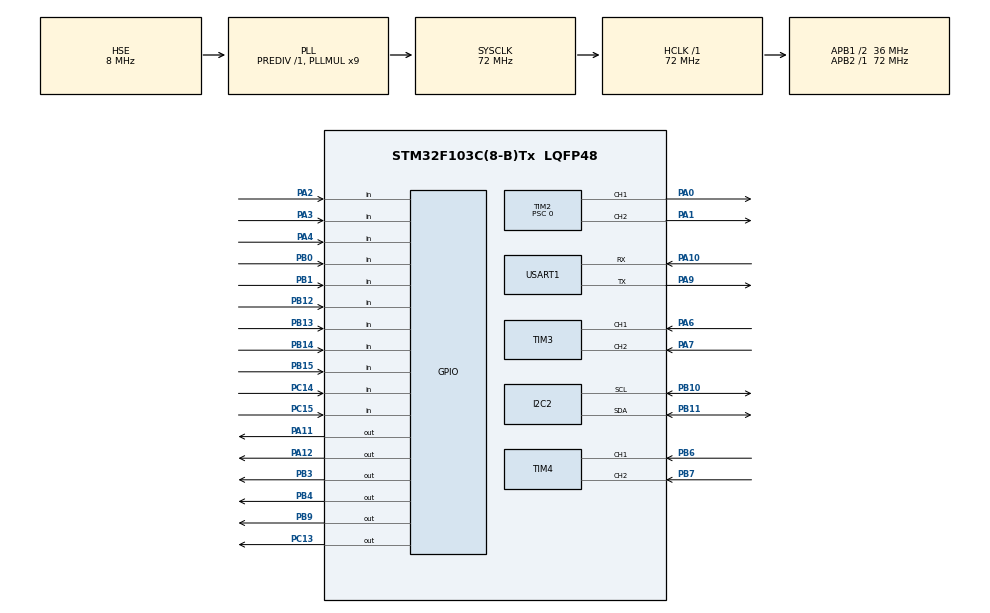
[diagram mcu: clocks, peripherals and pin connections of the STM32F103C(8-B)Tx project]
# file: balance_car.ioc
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FREERTOS.INCLUDE_vTaskDelayUntil=1
FREERTOS.Mutexes01=Encoder_Mutex,Dynamic,NULL,Available
FREERTOS.Tasks01=DebugTask,0,128,StartDebug,Default,NULL,Dynamic,NULL,NULL;MotorCtrlTask,0,128,StartMotorCtrl,Default,NULL,Dynamic,NULL,NULL;RPMGetTask,0,128,StartRPMGet,Default,NULL,Dynamic,NULL,NULL;Task_Status,0,128,Start_Task_Handle,Default,NULL,Dynamic,NULL,NULL
Mcu.Family=STM32F1
Mcu.Name=STM32F103C(8-B)Tx
Mcu.Package=LQFP48
NVIC.PriorityGroup=NVIC_PRIORITYGROUP_4
NVIC.TIM1_UP_IRQn=true\:15\:0\:false\:false\:true\:false\:false\:true\:true
NVIC.TimeBase=TIM1_UP_IRQn
NVIC.TimeBaseIP=TIM1
NVIC.USART1_IRQn=true\:5\:0\:false\:false\:true\:true\:true\:true\:true
PA0-WKUP.Signal=S_TIM2_CH1_ETR
PA1.Signal=S_TIM2_CH2
PA10.Mode=Asynchronous
PA10.Signal=USART1_RX
PA11.GPIO_Speed=GPIO_SPEED_FREQ_MEDIUM
PA11.PinState=GPIO_PIN_SET
PA11.Signal=GPIO_Output
PA12.GPIO_Speed=GPIO_SPEED_FREQ_MEDIUM
PA12.Signal=GPIO_Output
PA13.Mode=Serial_Wire
PA13.Signal=SYS_JTMS-SWDIO
PA14.Mode=Serial_Wire
PA14.Signal=SYS_JTCK-SWCLK
PA2.GPIO_PuPd=GPIO_PULLDOWN
PA2.Signal=GPIO_Input
PA3.GPIO_PuPd=GPIO_PULLDOWN
PA3.Signal=GPIO_Input
PA4.GPIO_PuPd=GPIO_PULLDOWN
PA4.Signal=GPIO_Input
PA6.Signal=S_TIM3_CH1
PA7.Signal=S_TIM3_CH2
PA9.Mode=Asynchronous
PA9.Signal=USART1_TX
PB0.Signal=GPIO_Input
PB1.Signal=GPIO_Input
PB10.Mode=I2C
PB10.Signal=I2C2_SCL
PB11.Mode=I2C
PB11.Signal=I2C2_SDA
PB12.Signal=GPIO_Input
PB13.Signal=GPIO_Input
PB14.Signal=GPIO_Input
PB15.Signal=GPIO_Input
PB3.GPIO_Speed=GPIO_SPEED_FREQ_MEDIUM
PB3.PinState=GPIO_PIN_SET
PB3.Signal=GPIO_Output
PB4.GPIO_Speed=GPIO_SPEED_FREQ_MEDIUM
PB4.Signal=GPIO_Output
PB6.Signal=S_TIM4_CH1
PB7.Signal=S_TIM4_CH2
PB9.GPIO_PuPd=GPIO_PULLUP
PB9.PinState=GPIO_PIN_SET
PB9.Signal=GPIO_Output
PC13-TAMPER-RTC.GPIO_PuPd=GPIO_PULLUP
PC13-TAMPER-RTC.PinState=GPIO_PIN_SET
PC13-TAMPER-RTC.Signal=GPIO_Output
PC14-OSC32_IN.GPIO_PuPd=GPIO_PULLUP
PC14-OSC32_IN.Signal=GPIO_Input
PC15-OSC32_OUT.GPIO_PuPd=GPIO_PULLUP
PC15-OSC32_OUT.Signal=GPIO_Input
PD0-OSC_IN.Mode=HSE-External-Oscillator
PD0-OSC_IN.Signal=RCC_OSC_IN
PD1-OSC_OUT.Mode=HSE-External-Oscillator
PD1-OSC_OUT.Signal=RCC_OSC_OUT
ProjectManager.HeapSize=0x200
ProjectManager.StackSize=0x400
ProjectManager.TargetToolchain=MDK-ARM V5.32
RCC.AHBFreq_Value=72000000
RCC.APB1CLKDivider=RCC_HCLK_DIV2
RCC.APB1Freq_Value=36000000
RCC.APB1TimFreq_Value=72000000
RCC.APB2Freq_Value=72000000
RCC.APB2TimFreq_Value=72000000
RCC.HCLKFreq_Value=72000000
RCC.PLLMUL=RCC_PLL_MUL9
RCC.PLLSourceVirtual=RCC_PLLSOURCE_HSE
RCC.SYSCLKFreq_VALUE=72000000
RCC.SYSCLKSource=RCC_SYSCLKSOURCE_PLLCLK
RCC.USBFreq_Value=72000000
SH.S_TIM2_CH1_ETR.0=TIM2_CH1,PWM Generation1 CH1
SH.S_TIM2_CH2.0=TIM2_CH2,PWM Generation2 CH2
SH.S_TIM3_CH1.0=TIM3_CH1,Encoder_Interface
SH.S_TIM3_CH2.0=TIM3_CH2,Encoder_Interface
SH.S_TIM4_CH1.0=TIM4_CH1,Encoder_Interface
SH.S_TIM4_CH2.0=TIM4_CH2,Encoder_Interface
TIM2.Channel-PWM\ Generation1\ CH1=TIM_CHANNEL_1
TIM2.Channel-PWM\ Generation2\ CH2=TIM_CHANNEL_2
TIM2.Period=9999
TIM2.Prescaler=0
TIM2.Pulse-PWM\ Generation1\ CH1=0
TIM2.Pulse-PWM\ Generation2\ CH2=0
TIM2.TIM_MasterSlaveMode=TIM_MASTERSLAVEMODE_DISABLE
TIM3.EncoderMode=TIM_ENCODERMODE_TI12
TIM3.IC1Filter=0
TIM3.IC2Filter=0
TIM4.EncoderMode=TIM_ENCODERMODE_TI12
TIM4.IC1Filter=0
TIM4.IC2Filter=0
USART1.VirtualMode=VM_ASYNC
VP_FREERTOS_VS_CMSIS_V1.Mode=CMSIS_V1
VP_SYS_VS_tim1.Mode=TIM1
VP_TIM2_VS_ClockSourceINT.Mode=Internal
board=custom

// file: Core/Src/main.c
/* USER CODE BEGIN Header */
/**
  ******************************************************************************
  * @file           : main.c
  * @brief          : Main program body
  ******************************************************************************
  * @attention
  *
  * Copyright (c) 2025 STMicroelectronics.
  * All rights reserved.
  *
  * This software is licensed under terms that can be found in the LICENSE file
  * in the root directory of this software component.
  * If no LICENSE file comes with this software, it is provided AS-IS.
  *
  ******************************************************************************
  */
/* USER CODE END Header */
#include "main.h"
#include "cmsis_os.h"
#include "i2c.h"
#include "tim.h"
#include "usart.h"
#include "gpio.h"

/* USER CODE BEGIN Includes */
#include "oled.h"
#include "mpu6050.h"
/* USER CODE END Includes */

void SystemClock_Config(void);
void MX_FREERTOS_Init(void);

int main(void)
{

  /* MCU Configuration--------------------------------------------------------*/

  /* Reset of all peripherals, Initializes the Flash interface and the Systick. */
  HAL_Init();

  /* Configure the system clock */
  SystemClock_Config();

  /* Initialize all configured peripherals */
  MX_GPIO_Init();
  MX_TIM2_Init();
  MX_TIM3_Init();
  MX_TIM4_Init();
  MX_I2C2_Init();
  MX_USART1_UART_Init();
  /* USER CODE BEGIN 2 */

  OLED_Init();
  int ret = 0;
  do {
	ret = MPU6050_DMP_init();
  } while (ret);
  /* USER CODE END 2 */

  /* Call init function for freertos objects (in cmsis_os2.c) */
  MX_FREERTOS_Init();

  /* Start scheduler */
  osKernelStart();

  /* We should never get here as control is now taken by the scheduler */

  /* Infinite loop */
  while (1)
  {

  }
}

void SystemClock_Config(void)
{
  RCC_OscInitTypeDef RCC_OscInitStruct = {0};
  RCC_ClkInitTypeDef RCC_ClkInitStruct = {0};

  /** Initializes the RCC Oscillators according to the specified parameters
  * in the RCC_OscInitTypeDef structure.
  */
  RCC_OscInitStruct.OscillatorType = RCC_OSCILLATORTYPE_HSE;
  RCC_OscInitStruct.HSEState = RCC_HSE_ON;
  RCC_OscInitStruct.HSEPredivValue = RCC_HSE_PREDIV_DIV1;
  RCC_OscInitStruct.HSIState = RCC_HSI_ON;
  RCC_OscInitStruct.PLL.PLLState = RCC_PLL_ON;
  RCC_OscInitStruct.PLL.PLLSource = RCC_PLLSOURCE_HSE;
  RCC_OscInitStruct.PLL.PLLMUL = RCC_PLL_MUL9;
  if (HAL_RCC_OscConfig(&RCC_OscInitStruct) != HAL_OK)
  {
    Error_Handler();
  }

  /** Initializes the CPU, AHB and APB buses clocks
  */
  RCC_ClkInitStruct.ClockType = RCC_CLOCKTYPE_HCLK|RCC_CLOCKTYPE_SYSCLK
                              |RCC_CLOCKTYPE_PCLK1|RCC_CLOCKTYPE_PCLK2;
  RCC_ClkInitStruct.SYSCLKSource = RCC_SYSCLKSOURCE_PLLCLK;
  RCC_ClkInitStruct.AHBCLKDivider = RCC_SYSCLK_DIV1;
  RCC_ClkInitStruct.APB1CLKDivider = RCC_HCLK_DIV2;
  RCC_ClkInitStruct.APB2CLKDivider = RCC_HCLK_DIV1;

  if (HAL_RCC_ClockConfig(&RCC_ClkInitStruct, FLASH_LATENCY_2) != HAL_OK)
  {
    Error_Handler();
  }
}

void HAL_TIM_PeriodElapsedCallback(TIM_HandleTypeDef *htim)
{
  if (htim->Instance == TIM1) {
    HAL_IncTick();
  }
}

void Error_Handler(void)
{
  __disable_irq();
  while (1)
  {
  }
}

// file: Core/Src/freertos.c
/* USER CODE BEGIN Header */
/**
  ******************************************************************************
  * File Name          : freertos.c
  * Description        : Code for freertos applications
  ******************************************************************************
  * @attention
  *
  * Copyright (c) 2025 STMicroelectronics.
  * All rights reserved.
  *
  * This software is licensed under terms that can be found in the LICENSE file
  * in the root directory of this software component.
  * If no LICENSE file comes with this software, it is provided AS-IS.
  *
  ******************************************************************************
  */
/* USER CODE END Header */

#include "FreeRTOS.h"
#include "task.h"
#include "main.h"
#include "cmsis_os.h"

/* USER CODE BEGIN Includes */
#include "pid.h"
#include "vofa.h"
#include "mpu6050.h"
#include "inv_mpu.h"
#include "tim.h"
#include "oled.h"
#include "math.h"
#include "Motor.h"
#include "HC_05.h"
#include "tracking.h"
/* USER CODE END Includes */

/* USER CODE BEGIN PD */
#define aabs(x) ((x)>0?(x):-(x))
/* USER CODE END PD */

/* USER CODE BEGIN Variables */

extern Control_Model control_model;
extern Velocity_t Velocity_Data;
extern union HC_05_PID_t HC_05_PID;
extern union Vofa_Pid vofa_kp,vofa_ki,vofa_kd,vofa_Target;
int16_t TIM3_CNT,TIM4_CNT;
float L_RPS,R_RPS;
PID L_pid_Speed,R_pid_Speed,Angle_pid,Pitch_pid,Turn_pid;
float R_Target_RPS,L_Target_RPS,Target_RPS,Target_Speed,Turn_Out,Target_Yaw;
float Roll,Pitch,Yaw;
short Gyro[3];
short Gyro_y,Gyro_x,Gyro_z;
/* USER CODE END Variables */
osThreadId DebugTaskHandle;
osThreadId MotorCtrlTaskHandle;
osThreadId RPMGetTaskHandle;
osThreadId Task_StatusHandle;
osMutexId Encoder_MutexHandle;

void StartDebug(void const * argument);
void StartMotorCtrl(void const * argument);
void StartRPMGet(void const * argument);
void Start_Task_Handle(void const * argument);

void MX_FREERTOS_Init(void); /* (MISRA C 2004 rule 8.1) */

/* GetIdleTaskMemory prototype (linked to static allocation support) */
void vApplicationGetIdleTaskMemory( StaticTask_t **ppxIdleTaskTCBBuffer, StackType_t **ppxIdleTaskStackBuffer, uint32_t *pulIdleTaskStackSize );

/* USER CODE BEGIN GET_IDLE_TASK_MEMORY */
static StaticTask_t xIdleTaskTCBBuffer;
static StackType_t xIdleStack[configMINIMAL_STACK_SIZE];

void vApplicationGetIdleTaskMemory( StaticTask_t **ppxIdleTaskTCBBuffer, StackType_t **ppxIdleTaskStackBuffer, uint32_t *pulIdleTaskStackSize )
{
  *ppxIdleTaskTCBBuffer = &xIdleTaskTCBBuffer;
  *ppxIdleTaskStackBuffer = &xIdleStack[0];
  *pulIdleTaskStackSize = configMINIMAL_STACK_SIZE;
  /* place for user code */
}
/* USER CODE END GET_IDLE_TASK_MEMORY */

void MX_FREERTOS_Init(void) {
  /* Create the mutex(es) */
  /* definition and creation of Encoder_Mutex */
  osMutexDef(Encoder_Mutex);
  Encoder_MutexHandle = osMutexCreate(osMutex(Encoder_Mutex));

  /* Create the thread(s) */
  /* definition and creation of DebugTask */
  osThreadDef(DebugTask, StartDebug, osPriorityNormal, 0, 128);
  DebugTaskHandle = osThreadCreate(osThread(DebugTask), NULL);

  /* definition and creation of MotorCtrlTask */
  osThreadDef(MotorCtrlTask, StartMotorCtrl, osPriorityNormal, 0, 128);
  MotorCtrlTaskHandle = osThreadCreate(osThread(MotorCtrlTask), NULL);

  /* definition and creation of RPMGetTask */
  osThreadDef(RPMGetTask, StartRPMGet, osPriorityNormal, 0, 128);
  RPMGetTaskHandle = osThreadCreate(osThread(RPMGetTask), NULL);

  /* definition and creation of Task_Status */
  osThreadDef(Task_Status, Start_Task_Handle, osPriorityNormal, 0, 128);
  Task_StatusHandle = osThreadCreate(osThread(Task_Status), NULL);

}

/* USER CODE BEGIN Header_StartDebug */
/**
  * @brief  Function implementing the DebugTask thread.
  * @param  argument: Not used
  * @retval None
  */
TickType_t time1,time2;
/* USER CODE END Header_StartDebug */
void StartDebug(void const * argument)
{
  /* USER CODE BEGIN StartDebug */
  float pitch, roll, yaw;
  /* Infinite loop */
  for(;;)
  {

    //xSemaphoreTake(Ora_MutexHandle,portMAX_DELAY);
    if(MPU6050_DMP_Get_Date(&Pitch, &Roll, &Yaw)==0){
		pitch = -Pitch;
		roll = Roll;
		yaw = Yaw;
    }

    osDelay(1);
  }
  /* USER CODE END StartDebug */
}

void StartMotorCtrl(void const * argument)
{
  /* USER CODE BEGIN StartMotorCtrl */
#ifdef VOFA_DEBUG
    StartUart2ReceiveIT();
#endif

    StartUart1ReceiveIT();
    float r_rps,l_rps,r_output,l_output,angle_error,target_speed,Target_angle;
    float pitch,roll,yaw;

    PID_parameter_init(&Pitch_pid,1,0.007,200,20,10,0);
    PID_parameter_init(&L_pid_Speed,1420,100,0,10000,5000,0);
    PID_parameter_init(&R_pid_Speed,1420,100,0,10000,5000,0);
    PID_parameter_init(&Angle_pid,0.25,0.003,1,15,15,0);
    PID_parameter_init(&Turn_pid,0.1,0,0,1,0.5,0);
    Target_RPS = 0;
    TickType_t preTime = xTaskGetTickCount();
    uint32_t sum_temp =0;
    uint8_t sum=0;
	  float turn_out1=0,turn_out2=0,target_yaw=0;
    sensor_status status;
	float a = 0;
  /* Infinite loop */
  for(;;)
  {
    //time1 = xTaskGetTickCount();
    //xSemaphoreTake(Encoder_MutexHandle,portMAX_DELAY);
    r_rps = R_RPS;
    l_rps = L_RPS;
    //xSemaphoreGive(Encoder_MutexHandle);

    //xSemaphoreTake(Ora_MutexHandle,portMAX_DELAY);
    pitch = -Pitch;
	  roll = Roll;
    yaw = Yaw;
    //xSemaphoreGive(Ora_MutexHandle);
	if(control_model == AUTO){
		target_speed = Target_Speed;
		target_yaw = Target_Yaw;
		turn_out2 = Turn_Out;
		if(target_speed==0){
			 PID_reset_PID(&Pitch_pid,1.2,0.001,200);
		}else{
			PID_reset_PID(&Pitch_pid,0.9,0.002,400);
		}
	}else{
		target_yaw =-1;
		target_speed = Velocity_Data.Velocity_y/128*3.5;
		if(target_speed==0){
			 PID_reset_PID(&Pitch_pid,1.2,0.001,200);
		}else{
			PID_reset_PID(&Pitch_pid,0.9,0.002,400);
		}
		turn_out2 = -Velocity_Data.Omega/128*1;
	}

//	  if(HC_05_PID.Data[0]!=0||HC_05_PID.Data[1]!=0||HC_05_PID.Data[2]!=0){
//		  PID_reset_PID(&Pitch_pid,HC_05_PID.Data[0],HC_05_PID.Data[1],HC_05_PID.Data[2]);
//	  }
    if(target_yaw != -1){
		Turn_pid_calculation(&Turn_pid,target_yaw,yaw);
	    turn_out1 = Turn_pid.output;
    }else{
		turn_out1 = 0;
    }

    Pitch_pid_calculation(&Pitch_pid,target_speed,r_rps);
    Target_angle = Pitch_pid.output;
    angle_error = pitch-Target_angle;
    if(fabsf(pitch)>55){
	    Angle_pid.output = 0;
    }else{
      PID_position_PID_calculation_by_error(&Angle_pid,angle_error);
    }
    Target_RPS = vofa_Target.Pid_Data;
    PID_incremental_PID_calculation(&R_pid_Speed,r_rps,Angle_pid.output+turn_out1+turn_out2);
    PID_incremental_PID_calculation(&L_pid_Speed,l_rps,Angle_pid.output-turn_out1-turn_out2);

     Motor_Ctrol(R_pid_Speed.output,L_pid_Speed.output);

//    HC_05_Send_Header();
//    sum_temp+= HC_05_Send_Float(Target_Speed);
//    sum_temp+= HC_05_Send_Float(0);
//    sum = (uint8_t)sum_temp;
//    HC_05_Send_Checksum(sum);
//    HC_05_Send_Tail();

//   Vofa_SendFloat(Velocity_Data.Velocity_y);
//   Vofa_SendFloat(Velocity_Data.Omega);
//   Vofa_SendFloat(a);
//   Vofa_Tail_Send();

	//time2 = xTaskGetTickCount()-time1;

	osDelayUntil(&preTime,pdMS_TO_TICKS(3));

  }

  /* USER CODE END StartMotorCtrl */
}

void StartRPMGet(void const * argument)
{
  /* USER CODE BEGIN StartRPMGet */
	float r_rps,l_rps,a=0.7;
	TickType_t preTime=xTaskGetTickCount();
	int Tim3_cnt_last,Tim4_cnt_last;
  /* Infinite loop */
  for(;;)
  {

	  TIM3_CNT = __HAL_TIM_GetCounter(&htim3);
	  TIM4_CNT = __HAL_TIM_GetCounter(&htim4);
	  __HAL_TIM_SetCounter(&htim3,0);
	  __HAL_TIM_SetCounter(&htim4,0);
	  //xSemaphoreTake(Encoder_MutexHandle,portMAX_DELAY);
	  L_RPS = -(float)TIM3_CNT/52/20*1000/3;
    R_RPS = (float)TIM4_CNT/52/20*1000/3;
	  l_rps = L_RPS;
	  r_rps = R_RPS;
	  //xSemaphoreGive(Encoder_MutexHandle);

//	   Vofa_SendFloat(Target.Pid_Data);
//	   Vofa_SendFloat(r_rps);
//	  Vofa_SendFloat(l_rps);
//	   Vofa_Tail_Send();

	  osDelayUntil(&preTime,pdMS_TO_TICKS(3));

  }

  /* USER CODE END StartRPMGet */
}

void Start_Task_Handle(void const * argument)
{
  /* USER CODE BEGIN Start_Task_Handle */
  /* Infinite loop */
  sensor_status status = TWO_WHITE;
  sensor_status last_status;
  TASK task;
  uint8_t flag1 = 0,flag2 = 0;
	uint8_t finish_flag=0;
  for(;;)
  {
	if(control_model == AUTO){
		if(finish_flag == 0){
			task = get_task();
			last_status = status;
			status = get_sensor_status();
			switch(task){
			  case task1:
				switch (status)
				{
				case TWO_WHITE:
				  Target_Speed = 1.2;
				  Target_Yaw = 0;
				  Turn_Out = 0;
				  break;
				default:
				  Target_Speed = 0;
				  finish_flag = 1;
				  break;
				}
				break;
			  case task2:
				switch (status)
				{
				case TWO_WHITE:
				  Target_Speed = 0.6;
					if(Yaw<-178&&Yaw<178){
						Target_Speed = 0;
						finish_flag = 1;
					}

				  break;
				case TWO_BLACK:
				  Target_Speed = 0.8;
				  Target_Yaw = -1;
				  Turn_Out = 0;
				  break;
				case L_BLACK_R_WHITE:
				  Target_Speed = 0.5;
				  Target_Yaw = -1;
				  Turn_Out = 0.6;
				  break;
				case L_WHITE_R_BLACK:
				  Target_Speed = 0.5;
				  Target_Yaw = -1;
				  Turn_Out = -0.6;
				  break;
				default:
				  break;
				}
				break;
			  case task3:
				switch (status)
				{
				  case TWO_WHITE:
					if(last_status != TWO_WHITE){
						Turn_Out = 0;

						flag1++;

					HAL_GPIO_WritePin(GPIOB,GPIO_PIN_9,GPIO_PIN_RESET);
					  HAL_GPIO_WritePin(GPIOC,GPIO_PIN_13,GPIO_PIN_RESET);
					  osDelay(100);
					  HAL_GPIO_WritePin(GPIOB,GPIO_PIN_9,GPIO_PIN_SET);
					  HAL_GPIO_WritePin(GPIOC,GPIO_PIN_13,GPIO_PIN_SET);

					}

					if(flag1 == 0){
					  Turn_Out = 0;
					  Target_Speed = 0.9;
					  Target_Yaw = 0;
					}else if(flag1 == 1){
					  Turn_Out = 0;
					  Target_Speed = 1;
					  Target_Yaw = 178;
					}else{
					  Turn_Out = 0;
					  flag1 = 0;
					  Target_Speed = 0;

						finish_flag = 1;

					}

					break;
				  case TWO_BLACK:
					if(last_status == TWO_WHITE){
					  HAL_GPIO_WritePin(GPIOB,GPIO_PIN_9,GPIO_PIN_RESET);
					  HAL_GPIO_WritePin(GPIOC,GPIO_PIN_13,GPIO_PIN_RESET);
					  osDelay(100);
					  HAL_GPIO_WritePin(GPIOB,GPIO_PIN_9,GPIO_PIN_SET);
					  HAL_GPIO_WritePin(GPIOC,GPIO_PIN_13,GPIO_PIN_SET);
					}
					Target_Speed = 0.8;
					Target_Yaw = -1;
					Turn_Out = -0.1;
					break;
				  case L_BLACK_R_WHITE:
					if(last_status == TWO_WHITE){
					  HAL_GPIO_WritePin(GPIOB,GPIO_PIN_9,GPIO_PIN_RESET);
					  HAL_GPIO_WritePin(GPIOC,GPIO_PIN_13,GPIO_PIN_RESET);
					  osDelay(100);
					  HAL_GPIO_WritePin(GPIOB,GPIO_PIN_9,GPIO_PIN_SET);
					  HAL_GPIO_WritePin(GPIOC,GPIO_PIN_13,GPIO_PIN_SET);
					}
					Target_Speed = 0.6;
					Target_Yaw = -1;
					Turn_Out = 0.6;
					break;
				  case L_WHITE_R_BLACK:
					if(last_status == TWO_WHITE){
					  HAL_GPIO_WritePin(GPIOB,GPIO_PIN_9,GPIO_PIN_RESET);
					  HAL_GPIO_WritePin(GPIOC,GPIO_PIN_13,GPIO_PIN_RESET);
					  osDelay(100);
					  HAL_GPIO_WritePin(GPIOB,GPIO_PIN_9,GPIO_PIN_SET);
					  HAL_GPIO_WritePin(GPIOC,GPIO_PIN_13,GPIO_PIN_SET);
					}
					Target_Speed = 0.6;
					Target_Yaw = -1;
					Turn_Out = -0.6;

					break;
				  default:
					break;
				}
				break;
			  case task4:
				switch (status)
				{
				case TWO_WHITE:
				  if(last_status != TWO_WHITE){
					  Target_Speed = 0.6;
					  Turn_Out = 0;

						Target_Yaw=-35;

					if(Yaw>175&&Yaw<-175){
						Target_Yaw = -140;
						flag1++;
					}
					if(Yaw<5&&Yaw>-5){
						if(flag1>0){
							Target_Speed = 0;
							finish_flag =1;
						}
					}

				  }
//				  if(flag1 <2){
//					if(flag1%2 == 0){
//					  Target_Speed = 0.95;
//					  Target_Yaw = -37;
//					}else{
//					  Target_Speed = 0.95;
//					  Target_Yaw = -140;
//					}
//				  }else if (flag1 ==2)
//				  {
//					Target_Speed = 0;
//					flag1 = 0;
//					finish_flag = 1;
//				  }
				  Turn_Out = 0;
				  break;
				case TWO_BLACK:
				  if(last_status == TWO_WHITE){
					if((Yaw>-45&&Yaw<-30)&&(Yaw>170&&Yaw<-170)){
						flag2++;
					HAL_GPIO_WritePin(GPIOB,GPIO_PIN_9,GPIO_PIN_RESET);
					  HAL_GPIO_WritePin(GPIOC,GPIO_PIN_13,GPIO_PIN_RESET);
					  osDelay(100);
					  HAL_GPIO_WritePin(GPIOB,GPIO_PIN_9,GPIO_PIN_SET);
					  HAL_GPIO_WritePin(GPIOC,GPIO_PIN_13,GPIO_PIN_SET);
					}

				  }
				  if(flag2%2 == 0){
					Target_Speed = 0.6;
					Target_Yaw = -1;
					Turn_Out = -0.2;
				  }else{
					Target_Speed = 0.8;
					Target_Yaw = -1;
					Turn_Out = 0.2;
				  }
				  if(flag2 == 2){
					flag2 = 0;
				  }
				  break;
				  case L_BLACK_R_WHITE:
					if((Yaw>-45&&Yaw<-30)&&(Yaw>170&&Yaw<-170)){
						flag2++;
					HAL_GPIO_WritePin(GPIOB,GPIO_PIN_9,GPIO_PIN_RESET);
					  HAL_GPIO_WritePin(GPIOC,GPIO_PIN_13,GPIO_PIN_RESET);
					  osDelay(100);
					  HAL_GPIO_WritePin(GPIOB,GPIO_PIN_9,GPIO_PIN_SET);
					  HAL_GPIO_WritePin(GPIOC,GPIO_PIN_13,GPIO_PIN_SET);
					}
					Target_Speed = 0.5;
					Target_Yaw = -1;
					Turn_Out = 0.7;
					break;
				  case L_WHITE_R_BLACK:
					if((Yaw>-45&&Yaw<-30)&&(Yaw>175&&Yaw<-175)){
						flag2++;
					HAL_GPIO_WritePin(GPIOB,GPIO_PIN_9,GPIO_PIN_RESET);
					  HAL_GPIO_WritePin(GPIOC,GPIO_PIN_13,GPIO_PIN_RESET);
					  osDelay(100);
					  HAL_GPIO_WritePin(GPIOB,GPIO_PIN_9,GPIO_PIN_SET);
					  HAL_GPIO_WritePin(GPIOC,GPIO_PIN_13,GPIO_PIN_SET);
					}
					Target_Speed = 0.5;
					Target_Yaw = -1;
					Turn_Out = -0.7;
					break;
				  default:
					break;
				}
				break;
			  case task5:
				switch (status)
				{
				case TWO_WHITE:
				  if(last_status != TWO_WHITE){
					flag1++;
					HAL_GPIO_WritePin(GPIOB,GPIO_PIN_9,GPIO_PIN_RESET);
					  HAL_GPIO_WritePin(GPIOC,GPIO_PIN_13,GPIO_PIN_RESET);
					  osDelay(100);
					  HAL_GPIO_WritePin(GPIOB,GPIO_PIN_9,GPIO_PIN_SET);
					  HAL_GPIO_WritePin(GPIOC,GPIO_PIN_13,GPIO_PIN_SET);
				  }
				  if(flag1 <8){
					if(flag1%2 == 0){
					  Target_Speed = 1.5;
					  Target_Yaw = -38;
					}else{
					  Target_Speed = 1.5;
					  Target_Yaw = 218;
					}
				  }else if (flag1 ==8)
				  {
					Target_Speed = 0;
					flag1 = 0;
					finish_flag = 1;
				  }
				  Turn_Out = 0;
				  break;
				case TWO_BLACK:
				  if(last_status == TWO_WHITE){
					flag2++;
					HAL_GPIO_WritePin(GPIOB,GPIO_PIN_9,GPIO_PIN_RESET);
					  HAL_GPIO_WritePin(GPIOC,GPIO_PIN_13,GPIO_PIN_RESET);
					  osDelay(100);
					  HAL_GPIO_WritePin(GPIOB,GPIO_PIN_9,GPIO_PIN_SET);
					  HAL_GPIO_WritePin(GPIOC,GPIO_PIN_13,GPIO_PIN_SET);
				  }
				  if(flag2%2 == 0){
					Target_Speed = 0.8;
					Target_Yaw = -1;
					Turn_Out = -0.2;
				  }else{
					Target_Speed = 0.8;
					Target_Yaw = -1;
					Turn_Out = 0.2;
				  }
				  break;
				  case L_BLACK_R_WHITE:
					if(last_status == TWO_WHITE){
					  flag2++;
					  HAL_GPIO_WritePin(GPIOB,GPIO_PIN_9,GPIO_PIN_RESET);
					  HAL_GPIO_WritePin(GPIOC,GPIO_PIN_13,GPIO_PIN_RESET);
					  osDelay(100);
					  HAL_GPIO_WritePin(GPIOB,GPIO_PIN_9,GPIO_PIN_SET);
					  HAL_GPIO_WritePin(GPIOC,GPIO_PIN_13,GPIO_PIN_SET);
					}
					Target_Speed = 0.6;
					Target_Yaw = -1;
					Turn_Out = 0.6;
					break;
				  case L_WHITE_R_BLACK:
					if(last_status == TWO_WHITE){
					  flag2++;
					  HAL_GPIO_WritePin(GPIOB,GPIO_PIN_9,GPIO_PIN_RESET);
					  HAL_GPIO_WritePin(GPIOC,GPIO_PIN_13,GPIO_PIN_RESET);
					  osDelay(100);
					  HAL_GPIO_WritePin(GPIOB,GPIO_PIN_9,GPIO_PIN_SET);
					  HAL_GPIO_WritePin(GPIOC,GPIO_PIN_13,GPIO_PIN_SET);
					}
					Target_Speed = 0.6;
					Target_Yaw = -1;
					Turn_Out = -0.6;
					break;
				  default:
					break;
				}
				break;
			  default:
				Target_Speed = 0;
				Turn_Out = 0;
				Target_Yaw = 0;
				break;
			}
		}else{
			Target_Speed = 0;
			Turn_Out = 0;
		}

	}

    osDelay(1);
  }
  /* USER CODE END Start_Task_Handle */
}
